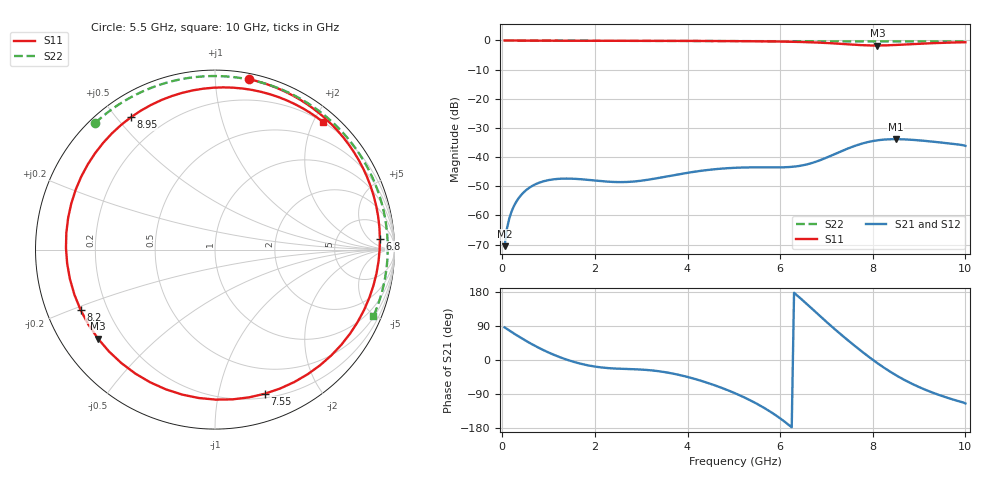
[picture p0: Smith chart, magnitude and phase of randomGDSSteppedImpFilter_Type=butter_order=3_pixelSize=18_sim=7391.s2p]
! freq	dB(S11)	phase(S11)	dB(S12)	phase(S12)
!  dB(S21)	phase(S21)	dB(S22)	phase(S22)
!S-par simulation data
#  GHz  S  DB  R 50
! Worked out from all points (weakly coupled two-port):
!   200 points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, 50 MHz to 10 GHz, reference 50 ohm
!   highest |S21| = -33.86 dB at 8.5 GHz (marker M1); lowest = -70.6 dB at 50 MHz (marker M2)
!   lowest |S11| = -1.7 dB at 8.1 GHz (marker M3), VSWR 10.06, Z = 5.53 - j16.7 ohm
!   |S11| at or under -10 dB: nowhere
!   |S22| runs from -0.4 to 0.0 dB; largest |S21 - S12| = 0
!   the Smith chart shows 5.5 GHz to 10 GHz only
!   S11 on the Smith chart (normalised r, x): 5.5 GHz: 0.04, +1.22; 6.8 GHz: 15, +12; 7.55 GHz: 0.24, -1.38; 8.2 GHz: 0.10, -0.21; 8.95 GHz: 0.09, +0.55; 10 GHz: 0.20, +2.15
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0.05  -0.00 -5.6  -70.56 86.0  -70.56 86.0  -0.00 -2.5
0.25  -0.04 -27.5  -56.84 70.0  -56.84 70.0  -0.02 -12.4
0.75  -0.08 -76.1  -49.08 34.5  -49.08 34.5  -0.05 -36.7
1.75  -0.11 -141.0  -47.66 -11.5  -47.66 -11.5  -0.10 -82.8
2.5  -0.12 -173.2  -48.58 -22.9  -48.58 -22.9  -0.13 -114.4
3.4  -0.14 154.9  -47.09 -30.0  -47.09 -30.0  -0.17 -149.5
4.2  -0.17 128.1  -44.91 -51.4  -44.91 -51.4  -0.20 -179.2
5.05  -0.23 97.3  -43.66 -89.0  -43.66 -89.0  -0.24 149.9
5.5  -0.28 78.8  -43.52 -115.7  -43.52 -115.7  -0.25 133.4
6.15  -0.42 46.8  -43.46 -167.8  -43.46 -167.8  -0.28 109.5
6.7  -0.65 11.5  -41.97 133.9  -41.97 133.9  -0.29 89.2
6.8  -0.72 3.8  -41.44 122.7  -41.44 122.7  -0.29 85.5
7.2  -1.05 -31.9  -38.83 79.2  -38.83 79.2  -0.30 70.8
7.55  -1.41 -70.9  -36.53 43.4  -36.53 43.4  -0.30 58.0
7.8  -1.64 -102.8  -35.23 19.0  -35.23 19.0  -0.31 49.0
8.1  -1.73 -142.8  -34.26 -8.3  -34.26 -8.3  -0.31 38.3
8.2  -1.71 -155.8  -34.07 -16.8  -34.07 -16.8  -0.31 34.8
8.35  -1.65 -174.6  -33.90 -28.8  -33.90 -28.8  -0.31 29.6
8.5  -1.54 167.7  -33.86 -40.1  -33.86 -40.1  -0.31 24.5
8.95  -1.17 122.5  -34.20 -68.7  -34.20 -68.7  -0.32 9.4
9.4  -0.87 87.0  -34.89 -91.0  -34.89 -91.0  -0.34 -4.9
10  -0.61 49.6  -36.16 -114.6  -36.16 -114.6  -0.38 -22.9
